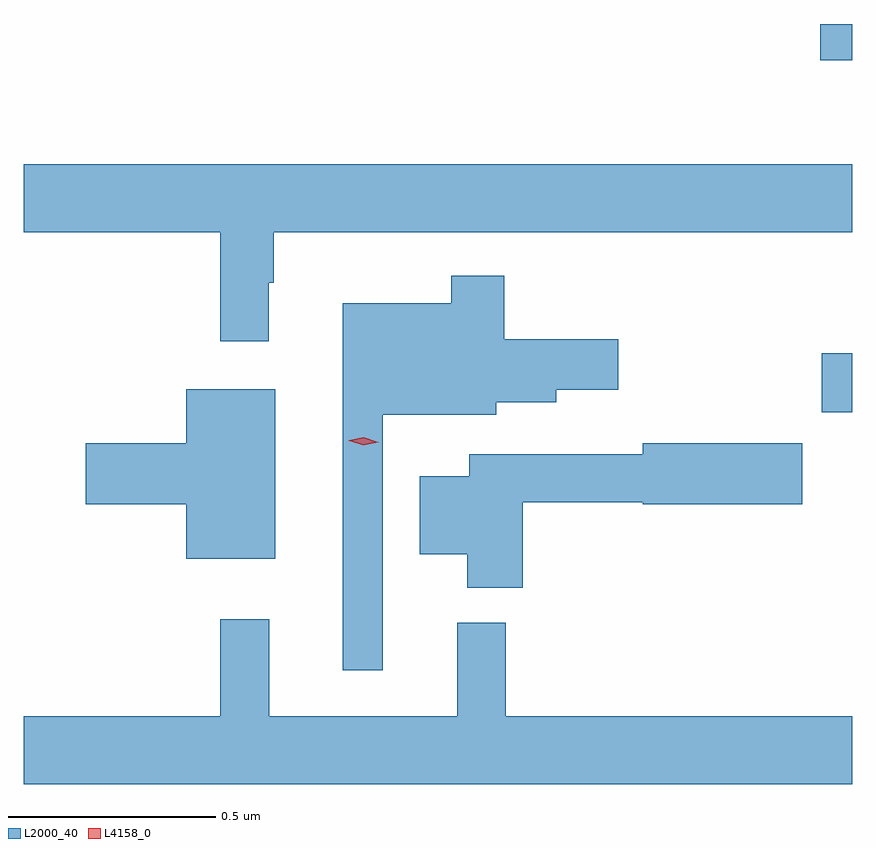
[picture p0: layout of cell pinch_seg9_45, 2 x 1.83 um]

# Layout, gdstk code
import gdstk
lib = gdstk.Library(unit=1e-6, precision=1e-09)
def R(c, l, rs):  # rectangles x0, y0, x1, y1
    for r in rs: c.add(gdstk.rectangle(r[:2], r[2:], *l))
def P(c, l, *ps):  # polygons
    for p in ps: c.add(gdstk.Polygon(p, *l))
L2000_40 = (2000, 40)
L4158_0 = (4158, 0)

pinch_seg9_45 = lib.new_cell('pinch_seg9_45')
R(pinch_seg9_45, L2000_40, [(988.512,1235.945,988.586,1236.087), (988.508,1236.795,988.586,1236.882)])
P(pinch_seg9_45, L2000_40, [(987.178,1236.257),(987.19,1236.257),(987.19,1236.38),(988.586,1236.38),(988.586,1236.544),(986.586,1236.544),(986.586,1236.38),(987.061,1236.38),(987.061,1236.117),(987.178,1236.117)],
  [(987.453,1235.939),(987.727,1235.939),(987.727,1235.969),(987.871,1235.969),(987.871,1235.999),(988.021,1235.999),(988.021,1236.121),(987.746,1236.121),(987.746,1236.274),(987.618,1236.274),(987.618,1236.208),(987.356,1236.208),(987.356,1235.322),(987.453,1235.322)],
  [(987.193,1236.001),(986.978,1236.001),(986.978,1235.87),(986.736,1235.87),(986.736,1235.723),(986.978,1235.723),(986.978,1235.591),(987.193,1235.591)],
  [(987.791,1235.728),(988.08,1235.728),(988.08,1235.723),(988.465,1235.723),(988.465,1235.87),(988.08,1235.87),(988.08,1235.844),(987.662,1235.844),(987.662,1235.791),(987.542,1235.791),(987.542,1235.603),(987.656,1235.603),(987.656,1235.522),(987.791,1235.522)],
  [(988.586,1235.212),(987.749,1235.212),(987.749,1235.437),(987.632,1235.437),(987.632,1235.212),(987.179,1235.212),(987.179,1235.446),(987.061,1235.446),(987.061,1235.212),(986.586,1235.212),(986.586,1235.048),(988.586,1235.048)])
P(pinch_seg9_45, L4158_0, [(987.406,1235.865),(987.372,1235.876),(987.371,1235.876),(987.372,1235.877),(987.407,1235.885),(987.442,1235.873),(987.443,1235.873),(987.442,1235.873)])

lib.write_gds('pinch_seg9_45.gds')
